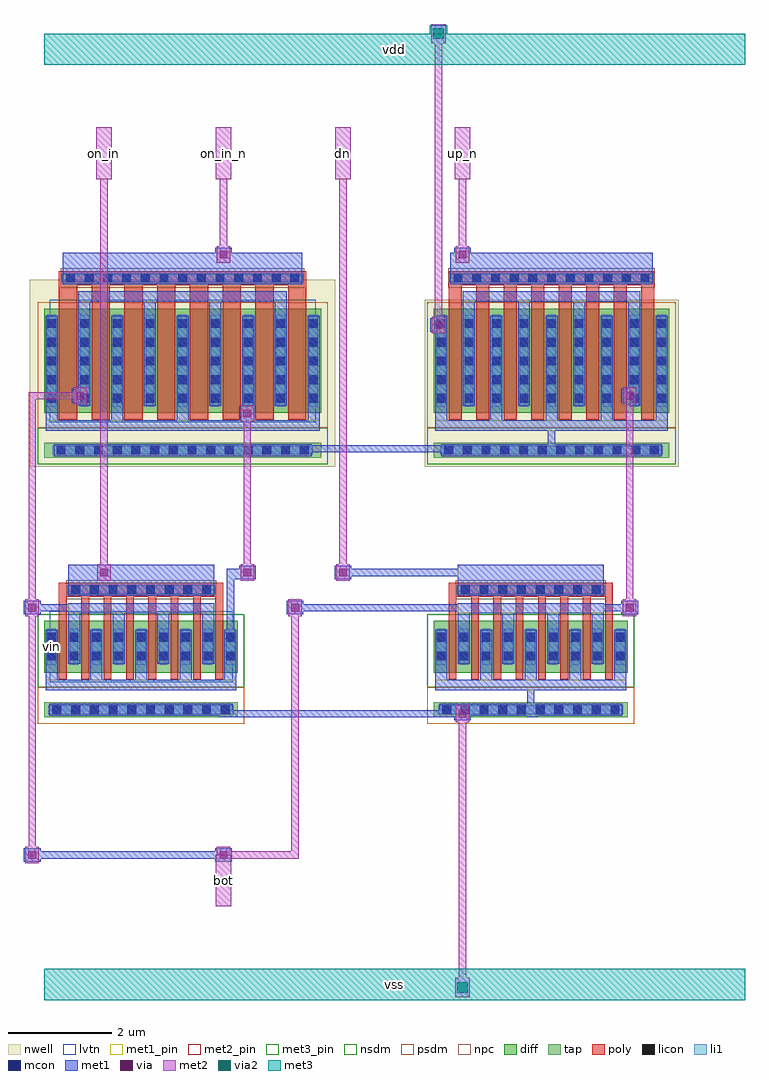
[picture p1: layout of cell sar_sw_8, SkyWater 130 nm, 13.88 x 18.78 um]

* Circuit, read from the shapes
.subckt sar_sw_8 bot dn on_in on_in_n up_n vdd vin vss
XM1 bot on_in vin vss sky130_fd_pr__nfet_01v8_lvt w=1 l=0.15 m=8
XM2 bot dn vss vss sky130_fd_pr__nfet_01v8 w=1 l=0.15 m=8
XM3 bot on_in_n vin vdd sky130_fd_pr__pfet_01v8_lvt w=2 l=0.35 m=8
XM4 bot up_n vdd vdd sky130_fd_pr__pfet_01v8 w=2 l=0.25 m=8
.ends

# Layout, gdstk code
import gdstk
lib = gdstk.Library(unit=1e-6, precision=1e-09)
def R(c, l, rs):  # rectangles x0, y0, x1, y1
    for r in rs: c.add(gdstk.rectangle(r[:2], r[2:], *l))
def A(c, l, x, y, w, h, nx, ny, dx, dy):  # array of equal rectangles
    R(c, l, [(x+i*dx, y+j*dy, x+i*dx+w, y+j*dy+h) for i in range(nx) for j in range(ny)])
nwell = (64, 20)
diff = (65, 20)
tap = (65, 44)
poly = (66, 20)
licon = (66, 44)
li1 = (67, 20)
mcon = (67, 44)
met1_pin = (68, 16)
met1 = (68, 20)
via = (68, 44)
met2_pin = (69, 16)
met2 = (69, 20)
via2 = (69, 44)
met3_pin = (70, 16)
met3 = (70, 20)
nsdm = (93, 44)
psdm = (94, 20)
npc = (95, 20)
lvtn = (125, 44)

pin_met3_w13p49u_l0p6u = lib.new_cell('pin_met3_w13p49u_l0p6u')
R(pin_met3_w13p49u_l0p6u, met3_pin, [(0,0,13.49,0.6)])
R(pin_met3_w13p49u_l0p6u, met3, [(0,0,13.49,0.6)])
pin_met3_w13p49u_l0p6u.add(gdstk.Label('P', (6.745,0.3), layer=70, texttype=16))

pin_met2_w0p3u_l1u = lib.new_cell('pin_met2_w0p3u_l1u')
R(pin_met2_w0p3u_l1u, met2_pin, [(0,0,0.3,1)])
R(pin_met2_w0p3u_l1u, met2, [(0,0,0.3,1)])
pin_met2_w0p3u_l1u.add(gdstk.Label('P', (0.15,0.5), layer=69, texttype=16))

pfet_01v8_w2u_l0p25u_nf1 = lib.new_cell('pfet_01v8_w2u_l0p25u_nf1_m8')
R(pfet_01v8_w2u_l0p25u_nf1, nwell, [(-0.18,-1.04,4.71,2.18)])
R(pfet_01v8_w2u_l0p25u_nf1, diff, [(0,0,4.53,2)])
R(pfet_01v8_w2u_l0p25u_nf1, tap, [(0,-0.86,4.53,-0.57)])
A(pfet_01v8_w2u_l0p25u_nf1, poly, 0.285, -0.13, 0.25, 2.59, 8, 1, 0.53, 0)
R(pfet_01v8_w2u_l0p25u_nf1, poly, [(0.285,2.46,4.245,2.73)])
A(pfet_01v8_w2u_l0p25u_nf1, licon, 0.2, -0.8, 0.17, 0.17, 12, 1, 0.36, 0)
A(pfet_01v8_w2u_l0p25u_nf1, licon, 0.06, 0.195, 0.17, 0.17, 9, 5, 0.53, 0.36)
A(pfet_01v8_w2u_l0p25u_nf1, licon, 0.38, 2.51, 0.17, 0.17, 11, 1, 0.36, 0)
A(pfet_01v8_w2u_l0p25u_nf1, li1, 0.06, 0.115, 0.17, 1.77, 9, 1, 0.53, 0)
R(pfet_01v8_w2u_l0p25u_nf1, li1, [(0.12,-0.8,4.41,-0.63), (0.3,2.51,4.23,2.68)])
A(pfet_01v8_w2u_l0p25u_nf1, mcon, 0.2, -0.8, 0.17, 0.17, 12, 1, 0.36, 0)
A(pfet_01v8_w2u_l0p25u_nf1, mcon, 0.06, 0.195, 0.17, 0.17, 9, 5, 0.53, 0.36)
A(pfet_01v8_w2u_l0p25u_nf1, mcon, 0.38, 2.51, 0.17, 0.17, 11, 1, 0.36, 0)
R(pfet_01v8_w2u_l0p25u_nf1, met1_pin, [(0.14,-0.83,4.39,-0.6), (0.03,-0.34,4.5,-0.14), (0.56,2.14,3.97,2.34), (0.32,2.48,4.21,3.08)])
A(pfet_01v8_w2u_l0p25u_nf1, met1, 0.03, -0.34, 0.23, 2.205, 5, 1, 1.06, 0)
A(pfet_01v8_w2u_l0p25u_nf1, met1, 0.56, 0.135, 0.23, 2.205, 4, 1, 1.06, 0)
R(pfet_01v8_w2u_l0p25u_nf1, met1, [(0.14,-0.83,4.39,-0.6), (0.03,-0.34,4.5,-0.14), (0.56,2.14,3.97,2.34), (0.32,2.48,4.21,3.08)])
R(pfet_01v8_w2u_l0p25u_nf1, nsdm, [(-0.125,-0.985,4.655,-0.285)])
R(pfet_01v8_w2u_l0p25u_nf1, psdm, [(-0.125,-0.285,4.655,2.125)])
R(pfet_01v8_w2u_l0p25u_nf1, npc, [(0.28,2.41,4.25,2.78)])
pfet_01v8_w2u_l0p25u_nf1.add(gdstk.Label('B', (2.265,-0.715), layer=68, texttype=16))
pfet_01v8_w2u_l0p25u_nf1.add(gdstk.Label('G', (2.265,2.78), layer=68, texttype=16))
pfet_01v8_w2u_l0p25u_nf1.add(gdstk.Label('D', (2.265,2.24), layer=68, texttype=16))
pfet_01v8_w2u_l0p25u_nf1.add(gdstk.Label('S', (2.265,-0.24), layer=68, texttype=16))

nfet_01v8_w1u_l0p15u_nf1 = lib.new_cell('nfet_01v8_w1u_l0p15u_nf1_m8')
R(nfet_01v8_w1u_l0p15u_nf1, diff, [(0,0,3.73,1)])
R(nfet_01v8_w1u_l0p15u_nf1, tap, [(0,-0.86,3.73,-0.57)])
A(nfet_01v8_w1u_l0p15u_nf1, poly, 0.285, -0.13, 0.15, 1.59, 8, 1, 0.43, 0)
R(nfet_01v8_w1u_l0p15u_nf1, poly, [(0.285,1.46,3.445,1.73)])
A(nfet_01v8_w1u_l0p15u_nf1, licon, 0.16, -0.8, 0.17, 0.17, 10, 1, 0.36, 0)
A(nfet_01v8_w1u_l0p15u_nf1, licon, 0.06, 0.235, 0.17, 0.17, 9, 2, 0.43, 0.36)
A(nfet_01v8_w1u_l0p15u_nf1, licon, 0.52, 1.51, 0.17, 0.17, 8, 1, 0.36, 0)
A(nfet_01v8_w1u_l0p15u_nf1, li1, 0.06, 0.155, 0.17, 0.69, 9, 1, 0.43, 0)
R(nfet_01v8_w1u_l0p15u_nf1, li1, [(0.08,-0.8,3.65,-0.63), (0.44,1.51,3.29,1.68)])
A(nfet_01v8_w1u_l0p15u_nf1, mcon, 0.16, -0.8, 0.17, 0.17, 10, 1, 0.36, 0)
A(nfet_01v8_w1u_l0p15u_nf1, mcon, 0.06, 0.235, 0.17, 0.17, 9, 2, 0.43, 0.36)
A(nfet_01v8_w1u_l0p15u_nf1, mcon, 0.52, 1.51, 0.17, 0.17, 8, 1, 0.36, 0)
R(nfet_01v8_w1u_l0p15u_nf1, met1_pin, [(0.1,-0.83,3.63,-0.6), (0.03,-0.34,3.7,-0.14), (0.46,1.14,3.27,1.34), (0.46,1.48,3.27,2.08)])
A(nfet_01v8_w1u_l0p15u_nf1, met1, 0.03, -0.34, 0.23, 1.165, 5, 1, 0.86, 0)
A(nfet_01v8_w1u_l0p15u_nf1, met1, 0.46, 0.175, 0.23, 1.165, 4, 1, 0.86, 0)
R(nfet_01v8_w1u_l0p15u_nf1, met1, [(0.1,-0.83,3.63,-0.6), (0.03,-0.34,3.7,-0.14), (0.46,1.14,3.27,1.34), (0.46,1.48,3.27,2.08)])
R(nfet_01v8_w1u_l0p15u_nf1, nsdm, [(-0.125,-0.285,3.855,1.125)])
R(nfet_01v8_w1u_l0p15u_nf1, psdm, [(-0.125,-0.985,3.855,-0.285)])
R(nfet_01v8_w1u_l0p15u_nf1, npc, [(0.42,1.41,3.31,1.78)])
nfet_01v8_w1u_l0p15u_nf1.add(gdstk.Label('B', (1.865,-0.715), layer=68, texttype=16))
nfet_01v8_w1u_l0p15u_nf1.add(gdstk.Label('G', (1.865,1.78), layer=68, texttype=16))
nfet_01v8_w1u_l0p15u_nf1.add(gdstk.Label('D', (1.865,1.24), layer=68, texttype=16))
nfet_01v8_w1u_l0p15u_nf1.add(gdstk.Label('S', (1.865,-0.24), layer=68, texttype=16))

pfet_01v8_lvt_w2u_l0p35u = lib.new_cell('pfet_01v8_lvt_w2u_l0p35u_nf1_m8')
R(pfet_01v8_lvt_w2u_l0p35u, nwell, [(-0.275,-1.04,5.605,2.56), (-0.18,-1.04,5.51,2.18)])
R(pfet_01v8_lvt_w2u_l0p35u, diff, [(0,0,5.33,2)])
R(pfet_01v8_lvt_w2u_l0p35u, tap, [(0,-0.86,5.33,-0.57)])
A(pfet_01v8_lvt_w2u_l0p35u, poly, 0.285, -0.13, 0.35, 2.59, 8, 1, 0.63, 0)
R(pfet_01v8_lvt_w2u_l0p35u, poly, [(0.285,2.46,5.045,2.73)])
A(pfet_01v8_lvt_w2u_l0p35u, licon, 0.24, -0.8, 0.17, 0.17, 14, 1, 0.36, 0)
A(pfet_01v8_lvt_w2u_l0p35u, licon, 0.06, 0.195, 0.17, 0.17, 9, 5, 0.63, 0.36)
A(pfet_01v8_lvt_w2u_l0p35u, licon, 0.42, 2.51, 0.17, 0.17, 13, 1, 0.36, 0)
A(pfet_01v8_lvt_w2u_l0p35u, li1, 0.06, 0.115, 0.17, 1.77, 9, 1, 0.63, 0)
R(pfet_01v8_lvt_w2u_l0p35u, li1, [(0.16,-0.8,5.17,-0.63), (0.34,2.51,4.99,2.68)])
A(pfet_01v8_lvt_w2u_l0p35u, mcon, 0.24, -0.8, 0.17, 0.17, 14, 1, 0.36, 0)
A(pfet_01v8_lvt_w2u_l0p35u, mcon, 0.06, 0.195, 0.17, 0.17, 9, 5, 0.63, 0.36)
A(pfet_01v8_lvt_w2u_l0p35u, mcon, 0.42, 2.51, 0.17, 0.17, 13, 1, 0.36, 0)
R(pfet_01v8_lvt_w2u_l0p35u, met1_pin, [(0.18,-0.83,5.15,-0.6), (0.03,-0.34,5.3,-0.14), (0.66,2.14,4.67,2.34), (0.36,2.48,4.97,3.08)])
A(pfet_01v8_lvt_w2u_l0p35u, met1, 0.03, -0.34, 0.23, 2.205, 5, 1, 1.26, 0)
A(pfet_01v8_lvt_w2u_l0p35u, met1, 0.66, 0.135, 0.23, 2.205, 4, 1, 1.26, 0)
R(pfet_01v8_lvt_w2u_l0p35u, met1, [(0.18,-0.83,5.15,-0.6), (0.03,-0.34,5.3,-0.14), (0.66,2.14,4.67,2.34), (0.36,2.48,4.97,3.08)])
R(pfet_01v8_lvt_w2u_l0p35u, nsdm, [(-0.125,-0.985,5.455,-0.285)])
R(pfet_01v8_lvt_w2u_l0p35u, psdm, [(-0.125,-0.285,5.455,2.125)])
R(pfet_01v8_lvt_w2u_l0p35u, npc, [(0.32,2.41,5.01,2.78)])
R(pfet_01v8_lvt_w2u_l0p35u, lvtn, [(0.105,-0.18,5.225,2.18)])
pfet_01v8_lvt_w2u_l0p35u.add(gdstk.Label('B', (2.665,-0.715), layer=68, texttype=16))
pfet_01v8_lvt_w2u_l0p35u.add(gdstk.Label('G', (2.665,2.78), layer=68, texttype=16))
pfet_01v8_lvt_w2u_l0p35u.add(gdstk.Label('D', (2.665,2.24), layer=68, texttype=16))
pfet_01v8_lvt_w2u_l0p35u.add(gdstk.Label('S', (2.665,-0.24), layer=68, texttype=16))

nfet_01v8_lvt_w1u_l0p15u = lib.new_cell('nfet_01v8_lvt_w1u_l0p15u_nf1_m8')
R(nfet_01v8_lvt_w1u_l0p15u, diff, [(0,0,3.73,1)])
R(nfet_01v8_lvt_w1u_l0p15u, tap, [(0,-0.86,3.73,-0.57)])
A(nfet_01v8_lvt_w1u_l0p15u, poly, 0.285, -0.13, 0.15, 1.59, 8, 1, 0.43, 0)
R(nfet_01v8_lvt_w1u_l0p15u, poly, [(0.285,1.46,3.445,1.73)])
A(nfet_01v8_lvt_w1u_l0p15u, licon, 0.16, -0.8, 0.17, 0.17, 10, 1, 0.36, 0)
A(nfet_01v8_lvt_w1u_l0p15u, licon, 0.06, 0.235, 0.17, 0.17, 9, 2, 0.43, 0.36)
A(nfet_01v8_lvt_w1u_l0p15u, licon, 0.52, 1.51, 0.17, 0.17, 8, 1, 0.36, 0)
A(nfet_01v8_lvt_w1u_l0p15u, li1, 0.06, 0.155, 0.17, 0.69, 9, 1, 0.43, 0)
R(nfet_01v8_lvt_w1u_l0p15u, li1, [(0.08,-0.8,3.65,-0.63), (0.44,1.51,3.29,1.68)])
A(nfet_01v8_lvt_w1u_l0p15u, mcon, 0.16, -0.8, 0.17, 0.17, 10, 1, 0.36, 0)
A(nfet_01v8_lvt_w1u_l0p15u, mcon, 0.06, 0.235, 0.17, 0.17, 9, 2, 0.43, 0.36)
A(nfet_01v8_lvt_w1u_l0p15u, mcon, 0.52, 1.51, 0.17, 0.17, 8, 1, 0.36, 0)
R(nfet_01v8_lvt_w1u_l0p15u, met1_pin, [(0.1,-0.83,3.63,-0.6), (0.03,-0.34,3.7,-0.14), (0.46,1.14,3.27,1.34), (0.46,1.48,3.27,2.08)])
A(nfet_01v8_lvt_w1u_l0p15u, met1, 0.03, -0.34, 0.23, 1.165, 5, 1, 0.86, 0)
A(nfet_01v8_lvt_w1u_l0p15u, met1, 0.46, 0.175, 0.23, 1.165, 4, 1, 0.86, 0)
R(nfet_01v8_lvt_w1u_l0p15u, met1, [(0.1,-0.83,3.63,-0.6), (0.03,-0.34,3.7,-0.14), (0.46,1.14,3.27,1.34), (0.46,1.48,3.27,2.08)])
R(nfet_01v8_lvt_w1u_l0p15u, nsdm, [(-0.125,-0.285,3.855,1.125)])
R(nfet_01v8_lvt_w1u_l0p15u, psdm, [(-0.125,-0.985,3.855,-0.285)])
R(nfet_01v8_lvt_w1u_l0p15u, npc, [(0.42,1.41,3.31,1.78)])
R(nfet_01v8_lvt_w1u_l0p15u, lvtn, [(0.105,-0.18,3.625,1.18)])
nfet_01v8_lvt_w1u_l0p15u.add(gdstk.Label('B', (1.865,-0.715), layer=68, texttype=16))
nfet_01v8_lvt_w1u_l0p15u.add(gdstk.Label('G', (1.865,1.78), layer=68, texttype=16))
nfet_01v8_lvt_w1u_l0p15u.add(gdstk.Label('D', (1.865,1.24), layer=68, texttype=16))
nfet_01v8_lvt_w1u_l0p15u.add(gdstk.Label('S', (1.865,-0.24), layer=68, texttype=16))

sar_sw_8 = lib.new_cell('sar_sw_8')
R(sar_sw_8, met1, [(-0.39,-0.64,-0.07,-0.38), (3.29,-0.64,3.61,-0.38), (-0.3,-0.58,3.52,-0.44), (7.89,2.08,8.21,2.34), (3.38,2.14,8.12,2.28), (9.295,2.14,9.5,2.28), (9.295,2.14,9.435,2.83), (3.515,3.17,3.655,5), (-0.39,4.12,-0.07,4.38), (4.67,4.12,4.99,4.38), (11.11,4.12,11.43,4.38), (-0.3,4.18,0.76,4.32), (4.76,4.18,8.12,4.32), (10.28,4.18,11.34,4.32), (0.99,4.8,1.31,5.06), (3.655,4.8,3.75,5), (3.655,4.8,3.75,5), (3.75,4.8,4.07,5.06), (5.59,4.8,5.91,5.06), (3.515,4.86,3.98,5), (5.68,4.86,8.12,5), (4.76,7.24,8.12,7.38), (9.695,7.24,9.835,7.83), (9.695,7.24,9.96,7.38), (3.75,7.86,4.07,8.12), (0.53,8.2,0.85,8.46), (11.11,8.2,11.43,8.46), (7.43,9.56,7.75,9.82), (3.29,10.92,3.61,11.18), (7.89,10.92,8.21,11.18)])
R(sar_sw_8, via, [(-0.305,-0.585,-0.155,-0.435), (3.375,-0.585,3.525,-0.435), (7.975,2.135,8.125,2.285), (-0.305,4.175,-0.155,4.325), (4.755,4.175,4.905,4.325), (11.195,4.175,11.345,4.325), (1.075,4.855,1.225,5.005), (3.835,4.855,3.985,5.005), (5.675,4.855,5.825,5.005), (3.835,7.915,3.985,8.065), (0.615,8.255,0.765,8.405), (11.195,8.255,11.345,8.405), (7.515,9.615,7.665,9.765), (3.375,10.975,3.525,11.125), (7.975,10.975,8.125,11.125)])
R(sar_sw_8, met2, [(7.91,-3.245,8.19,-2.875), (7.98,-3.13,8.12,2.28), (-0.36,-0.67,-0.1,-0.35), (3.32,-0.67,3.58,-0.35), (-0.3,-0.58,-0.16,4.32), (3.38,-0.58,4.9,-0.44), (4.76,-0.58,4.9,0.41), (4.76,0.27,4.9,4.32), (7.92,2.05,8.18,2.37), (-0.36,4.09,-0.1,4.41), (4.7,4.09,4.96,4.41), (11.14,4.09,11.4,4.41), (-0.3,4.18,-0.16,8.4), (11.2,4.18,11.34,8.4), (1.02,4.77,1.28,5.09), (3.78,4.77,4.04,5.09), (5.62,4.77,5.88,5.09), (1.08,4.86,1.22,12.65), (3.84,4.86,3.98,8.06), (5.68,4.86,5.82,12.65), (3.78,7.83,4.04,8.15), (0.56,8.17,0.82,8.49), (11.14,8.17,11.4,8.49), (-0.3,8.26,0.3,8.4), (0.16,8.26,0.76,8.4), (7.46,9.53,7.72,9.85), (7.52,9.62,7.66,15.37), (3.32,10.89,3.58,11.21), (7.92,10.89,8.18,11.21), (3.38,10.98,3.52,12.65), (7.98,10.98,8.12,12.65), (7.45,15.115,7.73,15.485)])
R(sar_sw_8, via2, [(7.95,-3.16,8.15,-2.96), (7.49,15.2,7.69,15.4)])
R(sar_sw_8, met3, [(7.885,-3.225,8.215,-2.895), (7.425,15.135,7.755,15.465)])
sar_sw_8.add(gdstk.Reference(pin_met3_w13p49u_l0p6u, (0,14.7)))
sar_sw_8.add(gdstk.Reference(pin_met2_w0p3u_l1u, (3.3,-1.5)))
sar_sw_8.add(gdstk.Reference(pin_met2_w0p3u_l1u, (7.9,12.5)))
sar_sw_8.add(gdstk.Reference(pin_met2_w0p3u_l1u, (1,12.5)))
sar_sw_8.add(gdstk.Reference(pfet_01v8_w2u_l0p25u_nf1, (7.5,8)))
sar_sw_8.add(gdstk.Reference(pin_met3_w13p49u_l0p6u, (0,-3.3)))
sar_sw_8.add(gdstk.Reference(pin_met2_w0p3u_l1u, (5.6,12.5)))
sar_sw_8.add(gdstk.Reference(pin_met2_w0p3u_l1u, (3.3,12.5)))
sar_sw_8.add(gdstk.Reference(nfet_01v8_w1u_l0p15u_nf1, (7.5,3)))
sar_sw_8.add(gdstk.Reference(pfet_01v8_lvt_w2u_l0p35u, (0,8)))
sar_sw_8.add(gdstk.Reference(nfet_01v8_lvt_w1u_l0p15u, (0,3)))
sar_sw_8.add(gdstk.Label('vin', (0.145,3.5), layer=67, texttype=16))
sar_sw_8.add(gdstk.Label('vss', (6.745,-3), layer=70, texttype=16))
sar_sw_8.add(gdstk.Label('vdd', (6.745,15), layer=70, texttype=16))
sar_sw_8.add(gdstk.Label('up_n', (8.05,13), layer=69, texttype=16))
sar_sw_8.add(gdstk.Label('on_in_n', (3.45,13), layer=69, texttype=16))
sar_sw_8.add(gdstk.Label('on_in', (1.15,13), layer=69, texttype=16))
sar_sw_8.add(gdstk.Label('dn', (5.75,13), layer=69, texttype=16))
sar_sw_8.add(gdstk.Label('bot', (3.45,-1), layer=69, texttype=16))

lib.write_gds('sar_sw_8.gds')
